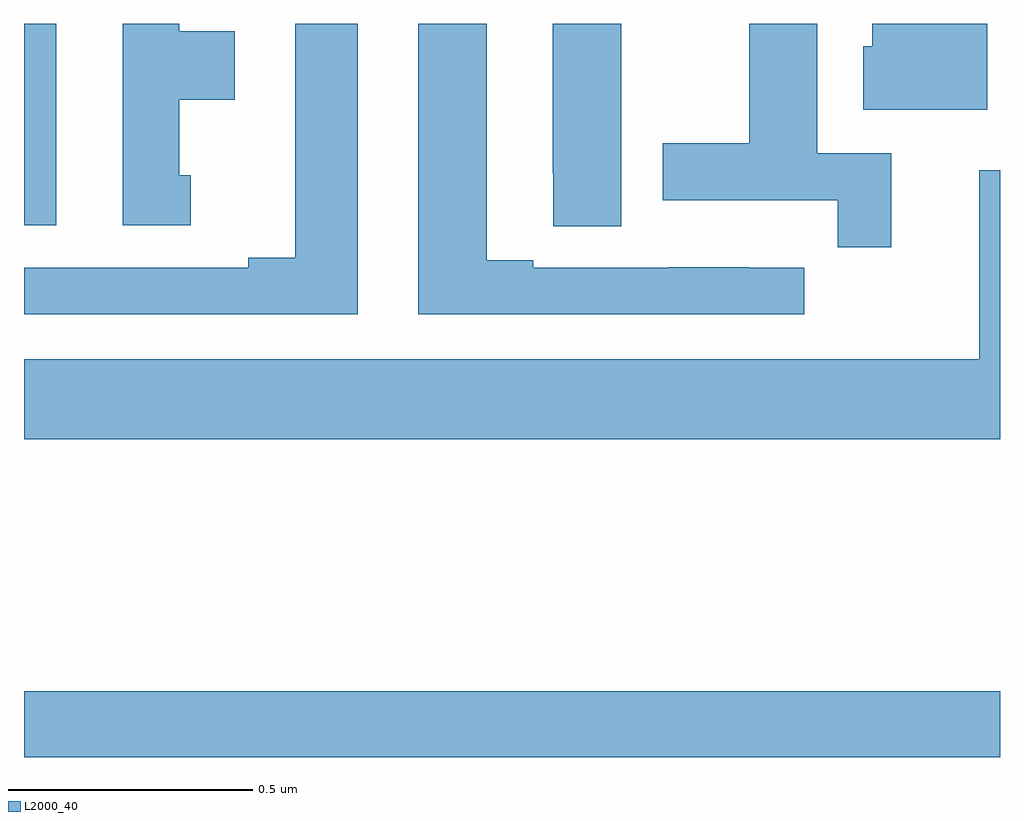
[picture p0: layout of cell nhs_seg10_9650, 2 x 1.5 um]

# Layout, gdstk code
import gdstk
lib = gdstk.Library(unit=1e-6, precision=1e-09)
def R(c, l, rs):  # rectangles x0, y0, x1, y1
    for r in rs: c.add(gdstk.rectangle(r[:2], r[2:], *l))
def P(c, l, *ps):  # polygons
    for p in ps: c.add(gdstk.Polygon(p, *l))
L2000_40 = (2000, 40)

nhs_seg10_9650 = lib.new_cell('nhs_seg10_9650')
R(nhs_seg10_9650, L2000_40, [(232,1300.996,234,1301.132), (232,1302.087,232.066,1302.5)])
P(nhs_seg10_9650, L2000_40, [(232.342,1302.189),(232.318,1302.189),(232.318,1302.344),(232.432,1302.344),(232.432,1302.484),(232.318,1302.484),(232.318,1302.5),(232.202,1302.5),(232.202,1302.087),(232.342,1302.087)],
  [(232.684,1302.5),(232.556,1302.5),(232.556,1302.02),(232.46,1302.02),(232.46,1302),(232,1302),(232,1301.904),(232.684,1301.904)],
  [(233.599,1302),(233.486,1302),(233.486,1302.001),(233.32,1302.001),(233.32,1302),(233.044,1302),(233.044,1302.015),(232.948,1302.015),(232.948,1302.5),(232.808,1302.5),(232.808,1301.904),(233.599,1301.904)],
  [(233.974,1302.5),(233.738,1302.5),(233.738,1302.453),(233.72,1302.453),(233.72,1302.323),(233.974,1302.323)],
  [(233.224,1302.5),(233.084,1302.5),(233.084,1302.193),(233.085,1302.193),(233.085,1302.085),(233.224,1302.085)],
  [(233.777,1302.234),(233.626,1302.234),(233.626,1302.5),(233.486,1302.5),(233.486,1302.255),(233.309,1302.255),(233.309,1302.138),(233.668,1302.138),(233.668,1302.042),(233.777,1302.042)],
  [(234,1302.199),(233.957,1302.199),(233.957,1301.812),(232,1301.812),(232,1301.648),(234,1301.648)])

lib.write_gds('nhs_seg10_9650.gds')
